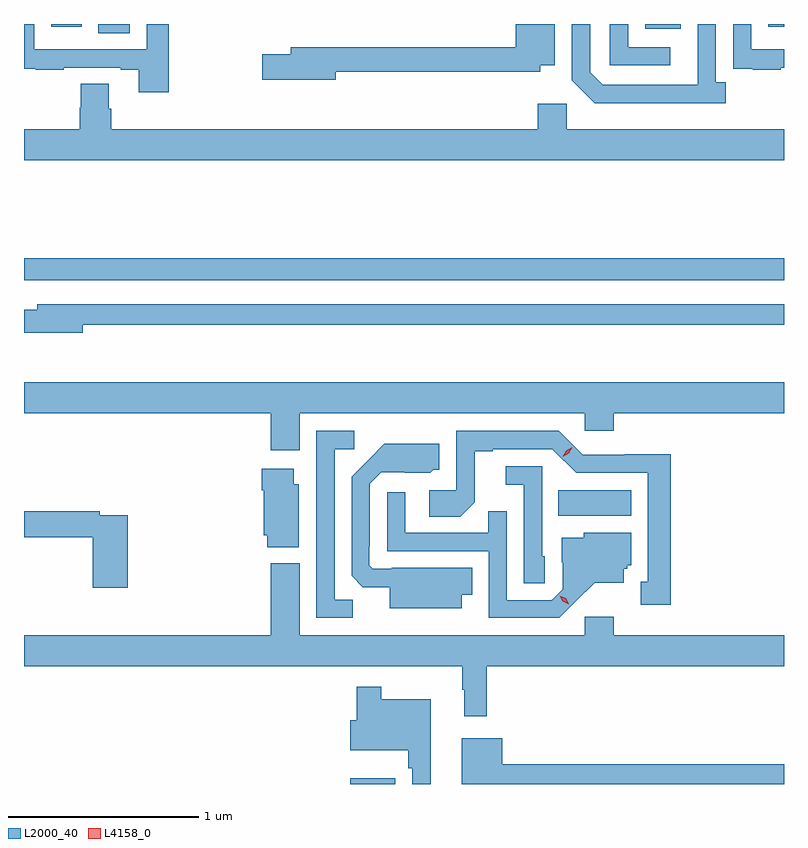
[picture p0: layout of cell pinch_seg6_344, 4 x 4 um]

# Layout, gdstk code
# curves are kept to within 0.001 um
import gdstk
lib = gdstk.Library(unit=1e-6, precision=1e-09)
def R(c, l, rs):  # rectangles x0, y0, x1, y1
    for r in rs: c.add(gdstk.rectangle(r[:2], r[2:], *l))
def P(c, l, *ps):  # polygons
    for p in ps: c.add(gdstk.Polygon(p, *l))
L2000_40 = (2000, 40)
L4158_0 = (4158, 0)

pinch_seg6_344 = lib.new_cell('pinch_seg6_344')
R(pinch_seg6_344, L2000_40, [(736.784,937.393,737.02,937.423), (737.878,938.804,738.262,938.938), (735.066,940.044,739.066,940.16), (735.458,941.344,735.622,941.393), (738.335,941.369,738.523,941.393), (735.209,941.379,735.37,941.393), (738.983,941.379,739.066,941.393)])
P(pinch_seg6_344, L2000_40, [(738.76,941.086),(738.708,941.086),(738.708,941.393),(738.612,941.393),(738.611,941.073),(738.111,941.073),(738.045,941.139),(738.045,941.393),(737.949,941.393),(737.949,941.097),(738.07,940.976),(738.76,940.976)],
  [(739.049,941.163),(739.066,941.163),(739.066,941.259),(738.894,941.259),(738.894,941.393),(738.798,941.393),(738.798,941.266),(738.799,941.266),(738.799,941.157),(738.901,941.157),(738.901,941.151),(739.049,941.151)],
  [(735.827,941.393),(735.711,941.393),(735.711,941.259),(735.12,941.259),(735.12,941.393),(735.066,941.393),(735.066,941.157),(735.127,941.157),(735.127,941.151),(735.275,941.151),(735.275,941.163),(735.575,941.163),(735.575,941.151),(735.671,941.151),(735.671,941.034),(735.827,941.034)],
  [(736.708,941.142),(737.784,941.142),(737.784,941.177),(737.86,941.177),(737.86,941.393),(737.653,941.393),(737.653,941.27),(736.469,941.27),(736.469,941.234),(736.32,941.234),(736.32,941.099),(736.708,941.099)],
  [(738.466,941.271),(738.246,941.271),(738.246,941.393),(738.15,941.393),(738.15,941.175),(738.466,941.175)],
  [(739.066,940.84),(737.922,940.84),(737.922,940.972),(737.771,940.972),(737.771,940.84),(735.524,940.84),(735.524,940.946),(735.511,940.946),(735.511,941.078),(735.364,941.078),(735.364,940.953),(735.359,940.953),(735.359,940.84),(735.066,940.84),(735.066,940.676),(739.066,940.676)],
  [(735.376,939.81),(739.066,939.81),(739.066,939.918),(735.137,939.918),(735.137,939.889),(735.066,939.889),(735.066,939.767),(735.376,939.767)],
  [(736.516,939.344),(738.018,939.344),(738.018,939.251),(738.17,939.251),(738.17,939.344),(739.066,939.344),(739.066,939.508),(735.066,939.508),(735.066,939.344),(736.364,939.344),(736.364,939.15),(736.516,939.15)],
  [(738.469,939.128),(738.228,939.128),(738.228,939.126),(738.006,939.126),(737.88,939.252),(737.34,939.252),(737.34,938.94),(737.199,938.94),(737.199,938.8),(737.363,938.8),(737.439,938.876),(737.439,939.144),(737.533,939.144),(737.533,939.156),(737.847,939.156),(737.973,939.03),(738.35,939.03),(738.35,938.457),(738.311,938.457),(738.311,938.337),(738.469,938.337)],
  [(736.797,938.363),(736.701,938.363),(736.701,939.156),(736.804,939.156),(736.804,939.252),(736.605,939.252),(736.605,938.268),(736.797,938.268)],
  [(737.371,938.39),(737.426,938.39),(737.426,938.53),(737.002,938.53),(737.002,938.526),(736.902,938.526),(736.884,938.544),(736.884,938.644),(736.887,938.644),(736.887,938.973),(736.947,939.033),(737.204,939.032),(737.22,939.048),(737.251,939.048),(737.251,939.184),(736.963,939.184),(736.791,939.01),(736.791,938.488),(736.85,938.429),(736.991,938.429),(736.991,938.318),(737.371,938.318)],
  [(737.808,938.592),(737.793,938.592),(737.793,939.066),(737.601,939.066),(737.601,938.969),(737.697,938.969),(737.697,938.449),(737.808,938.449)],
  [(736.513,938.97),(736.486,938.97),(736.486,939.052),(736.316,939.052),(736.316,938.939),(736.328,938.939),(736.328,938.703),(736.346,938.703),(736.346,938.639),(736.513,938.639)],
  [(737.968,938.351),(738.071,938.453),(738.223,938.453),(738.223,938.526),(738.24,938.526),(738.24,938.544),(738.262,938.544),(738.262,938.716),(738.012,938.716),(738.012,938.689),(737.897,938.689),(737.897,938.56),(737.901,938.56),(737.901,938.418),(737.844,938.361),(737.607,938.361),(737.607,938.828),(737.509,938.828),(737.509,938.715),(737.073,938.715),(737.073,938.929),(736.977,938.929),(736.977,938.619),(737.511,938.619),(737.511,938.268),(737.884,938.268)],
  [(735.611,938.808),(735.464,938.808),(735.464,938.828),(735.066,938.828),(735.066,938.692),(735.428,938.692),(735.428,938.427),(735.611,938.427)],
  [(737.501,938.012),(739.066,938.012),(739.066,938.176),(738.17,938.176),(738.17,938.272),(738.018,938.272),(738.018,938.176),(736.516,938.176),(736.516,938.554),(736.364,938.554),(736.364,938.176),(735.066,938.176),(735.066,938.012),(737.373,938.012),(737.373,937.889),(737.384,937.889),(737.384,937.749),(737.501,937.749)],
  [(737.206,937.84),(736.945,937.84),(736.945,937.906),(736.816,937.906),(736.816,937.729),(736.782,937.729),(736.782,937.571),(737.089,937.571),(737.089,937.475),(737.109,937.475),(737.109,937.393),(737.206,937.393)],
  [(739.066,937.496),(737.584,937.496),(737.584,937.633),(737.369,937.633),(737.369,937.393),(739.066,937.393)])
P(pinch_seg6_344, L4158_0, [(737.901,939.115),(737.901,939.115),(737.919,939.148),(737.951,939.166),(737.951,939.166),(737.951,939.166),(737.933,939.134),(737.901,939.115)],
  [(737.933,938.34),(737.902,938.355),(737.885,938.385),(737.885,938.385),(737.885,938.385),(737.916,938.37),(737.933,938.341),(737.933,938.34)])

lib.write_gds('pinch_seg6_344.gds')
